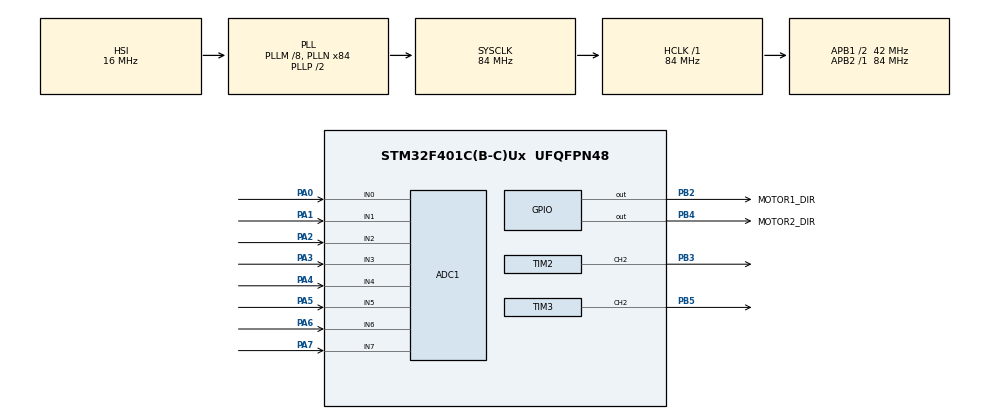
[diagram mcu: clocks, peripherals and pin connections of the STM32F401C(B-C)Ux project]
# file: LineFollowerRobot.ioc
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ADC1.Channel-0\#ChannelRegularConversion=ADC_CHANNEL_0
ADC1.Channel-1\#ChannelRegularConversion=ADC_CHANNEL_1
ADC1.Channel-2\#ChannelRegularConversion=ADC_CHANNEL_2
ADC1.Channel-3\#ChannelRegularConversion=ADC_CHANNEL_3
ADC1.Channel-4\#ChannelRegularConversion=ADC_CHANNEL_4
ADC1.Channel-5\#ChannelRegularConversion=ADC_CHANNEL_5
ADC1.Channel-6\#ChannelRegularConversion=ADC_CHANNEL_6
ADC1.Channel-7\#ChannelRegularConversion=ADC_CHANNEL_7
ADC1.ContinuousConvMode=ENABLE
ADC1.NbrOfConversion=8
ADC1.NbrOfConversionFlag=1
ADC1.Rank-0\#ChannelRegularConversion=1
ADC1.Rank-1\#ChannelRegularConversion=2
ADC1.Rank-2\#ChannelRegularConversion=3
ADC1.Rank-3\#ChannelRegularConversion=4
ADC1.Rank-4\#ChannelRegularConversion=5
ADC1.Rank-5\#ChannelRegularConversion=6
ADC1.Rank-6\#ChannelRegularConversion=7
ADC1.Rank-7\#ChannelRegularConversion=8
ADC1.SamplingTime-0\#ChannelRegularConversion=ADC_SAMPLETIME_3CYCLES
ADC1.SamplingTime-1\#ChannelRegularConversion=ADC_SAMPLETIME_3CYCLES
ADC1.SamplingTime-2\#ChannelRegularConversion=ADC_SAMPLETIME_3CYCLES
ADC1.SamplingTime-3\#ChannelRegularConversion=ADC_SAMPLETIME_3CYCLES
ADC1.SamplingTime-4\#ChannelRegularConversion=ADC_SAMPLETIME_3CYCLES
ADC1.SamplingTime-5\#ChannelRegularConversion=ADC_SAMPLETIME_3CYCLES
ADC1.SamplingTime-6\#ChannelRegularConversion=ADC_SAMPLETIME_3CYCLES
ADC1.SamplingTime-7\#ChannelRegularConversion=ADC_SAMPLETIME_3CYCLES
ADC1.ScanConvMode=ENABLE
ADC1.master=1
Dma.ADC1.0.Direction=DMA_PERIPH_TO_MEMORY
Dma.ADC1.0.FIFOMode=DMA_FIFOMODE_DISABLE
Dma.ADC1.0.Instance=DMA2_Stream0
Dma.ADC1.0.MemDataAlignment=DMA_MDATAALIGN_HALFWORD
Dma.ADC1.0.MemInc=DMA_MINC_ENABLE
Dma.ADC1.0.Mode=DMA_CIRCULAR
Dma.ADC1.0.PeriphDataAlignment=DMA_PDATAALIGN_HALFWORD
Dma.ADC1.0.PeriphInc=DMA_PINC_DISABLE
Dma.ADC1.0.Priority=DMA_PRIORITY_LOW
Dma.Request0=ADC1
Mcu.Family=STM32F4
Mcu.Name=STM32F401C(B-C)Ux
Mcu.Package=UFQFPN48
NVIC.DMA2_Stream0_IRQn=true\:0\:0\:false\:false\:true\:false\:true\:true
NVIC.PriorityGroup=NVIC_PRIORITYGROUP_4
NVIC.TIM4_IRQn=true\:0\:0\:false\:false\:true\:true\:true\:true
PA0-WKUP.Signal=ADCx_IN0
PA1.Signal=ADCx_IN1
PA2.Signal=ADCx_IN2
PA3.Signal=ADCx_IN3
PA4.Signal=ADCx_IN4
PA5.Signal=ADCx_IN5
PA6.Signal=ADCx_IN6
PA7.Signal=ADCx_IN7
PB2.GPIO_Label=MOTOR1_DIR
PB2.Signal=GPIO_Output
PB3.Signal=S_TIM2_CH2
PB4.GPIO_Label=MOTOR2_DIR
PB4.Signal=GPIO_Output
PB5.Signal=S_TIM3_CH2
ProjectManager.HeapSize=0x200
ProjectManager.StackSize=0x400
ProjectManager.TargetToolchain=STM32CubeIDE
RCC.48MHZClocksFreq_Value=42000000
RCC.AHBFreq_Value=84000000
RCC.APB1CLKDivider=RCC_HCLK_DIV2
RCC.APB1Freq_Value=42000000
RCC.APB1TimFreq_Value=84000000
RCC.APB2Freq_Value=84000000
RCC.APB2TimFreq_Value=84000000
RCC.CortexFreq_Value=84000000
RCC.HCLKFreq_Value=84000000
RCC.HSE_VALUE=25000000
RCC.HSI_VALUE=16000000
RCC.LSE_VALUE=32768
RCC.PLLM=8
RCC.PLLN=84
RCC.SYSCLKFreq_VALUE=84000000
RCC.SYSCLKSource=RCC_SYSCLKSOURCE_PLLCLK
RCC.VCOOutputFreq_Value=168000000
SH.ADCx_IN0.0=ADC1_IN0,IN0
SH.ADCx_IN1.0=ADC1_IN1,IN1
SH.ADCx_IN2.0=ADC1_IN2,IN2
SH.ADCx_IN3.0=ADC1_IN3,IN3
SH.ADCx_IN4.0=ADC1_IN4,IN4
SH.ADCx_IN5.0=ADC1_IN5,IN5
SH.ADCx_IN6.0=ADC1_IN6,IN6
SH.ADCx_IN7.0=ADC1_IN7,IN7
SH.S_TIM2_CH2.0=TIM2_CH2,PWM Generation2 CH2
SH.S_TIM3_CH2.0=TIM3_CH2,PWM Generation2 CH2
TIM2.Channel-PWM\ Generation2\ CH2=TIM_CHANNEL_2
TIM2.Period=4199
TIM3.Channel-PWM\ Generation2\ CH2=TIM_CHANNEL_2
TIM3.Period=4199
TIM4.Period=1999
TIM4.Prescaler=83
VP_TIM4_VS_ClockSourceINT.Mode=Internal
board=custom

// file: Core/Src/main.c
/* USER CODE BEGIN Header */
/**
  ******************************************************************************
  * @file           : main.c
  * @brief          : Main program body
  ******************************************************************************
  * @attention
  *
  * Copyright (c) 2026 STMicroelectronics.
  * All rights reserved.
  *
  * This software is licensed under terms that can be found in the LICENSE file
  * in the root directory of this software component.
  * If no LICENSE file comes with this software, it is provided AS-IS.
  *
  ******************************************************************************
  */
/* USER CODE END Header */
#include "main.h"
#include "adc.h"
#include "dma.h"
#include "tim.h"
#include "gpio.h"

/* USER CODE BEGIN Includes */
#include "control.h"
/* USER CODE END Includes */

/* USER CODE BEGIN PV */

volatile uint16_t line_sensor_raw[SENSOR_COUNT];
PID_t pid;

volatile bool tick_flag = false;

/* quantos ticks seguidos sem ver linha até considerar "perdida de fato"
 * (10 ticks a 500Hz = 20ms — ajuste se achar sensível demais ou de menos) */
#define LOST_DEBOUNCE_TICKS   10

/* quanto tempo girando tentando recuperar até desistir e parar por
 * segurança (1000 ticks a 500Hz = 2 segundos) */
#define LOST_TIMEOUT_TICKS    1000

/* velocidade fixa de giro durante a tentativa de recuperação
 * (mesma escala do output do PID, cabe dentro de BASE_SPEED_DUTY) */
#define RECOVERY_TURN_OUTPUT  1500.0f

int32_t  last_error_sign = 0;     /* +1, -1 ou 0 (nunca viu linha ainda) */
uint16_t lost_debounce_count = 0; /* ticks seguidos sem linha, dentro de SEGUINDO_LINHA */
uint16_t lost_timeout_count  = 0; /* ticks seguidos tentando recuperar, dentro de LINHA_PERDIDA */

typedef enum {
    STATE_INIT,
    STATE_SEGUINDO_LINHA,
    STATE_LINHA_PERDIDA,
    STATE_PARADO_SEGURANCA
} RobotState_t;

RobotState_t robot_state = STATE_INIT;

/* USER CODE END PV */

void SystemClock_Config(void);

int main(void)
{

  /* MCU Configuration--------------------------------------------------------*/

  /* Reset of all peripherals, Initializes the Flash interface and the Systick. */
  HAL_Init();

  /* Configure the system clock */
  SystemClock_Config();

  /* Initialize all configured peripherals */
  MX_GPIO_Init();
  MX_DMA_Init();
  MX_ADC1_Init();
  MX_TIM2_Init();
  MX_TIM3_Init();
  MX_TIM4_Init();

  /* USER CODE BEGIN 2 */

  HAL_ADC_Start_DMA(&hadc1, (uint32_t*)line_sensor_raw, SENSOR_COUNT);
  Control_Init(&pid, 0.1f, 0.0f, 0.05f, 1000.0f);
  HAL_TIM_Base_Start_IT(&htim4);

  /* USER CODE END 2 */

  /* Infinite loop */
  /* USER CODE BEGIN WHILE */

  while (1)
  {
      /* USER CODE BEGIN WHILE */

      if (tick_flag) {
          tick_flag = false;
          switch (robot_state) {

              case STATE_INIT:
                  robot_state = STATE_SEGUINDO_LINHA;
                  break;

              case STATE_SEGUINDO_LINHA: {
                  int32_t position;

                  if (LineSensor_GetPosition(&position)) {
                      int32_t error = POSITION_CENTER - position;
                      float pid_output = PID_Step(&pid, error);
                      Motors_ApplyPID(pid_output);
                  } else {
                      Motors_ApplyPID(0.0f);
                  }
                  break;
              }
          }
      }

      /* USER CODE END WHILE */

  }

}

void SystemClock_Config(void)
{
  RCC_OscInitTypeDef RCC_OscInitStruct = {0};
  RCC_ClkInitTypeDef RCC_ClkInitStruct = {0};

  /** Configure the main internal regulator output voltage
  */
  __HAL_RCC_PWR_CLK_ENABLE();
  __HAL_PWR_VOLTAGESCALING_CONFIG(PWR_REGULATOR_VOLTAGE_SCALE2);

  /** Initializes the RCC Oscillators according to the specified parameters
  * in the RCC_OscInitTypeDef structure.
  */
  RCC_OscInitStruct.OscillatorType = RCC_OSCILLATORTYPE_HSI;
  RCC_OscInitStruct.HSIState = RCC_HSI_ON;
  RCC_OscInitStruct.HSICalibrationValue = RCC_HSICALIBRATION_DEFAULT;
  RCC_OscInitStruct.PLL.PLLState = RCC_PLL_ON;
  RCC_OscInitStruct.PLL.PLLSource = RCC_PLLSOURCE_HSI;
  RCC_OscInitStruct.PLL.PLLM = 8;
  RCC_OscInitStruct.PLL.PLLN = 84;
  RCC_OscInitStruct.PLL.PLLP = RCC_PLLP_DIV2;
  RCC_OscInitStruct.PLL.PLLQ = 4;
  if (HAL_RCC_OscConfig(&RCC_OscInitStruct) != HAL_OK)
  {
    Error_Handler();
  }

  /** Initializes the CPU, AHB and APB buses clocks
  */
  RCC_ClkInitStruct.ClockType = RCC_CLOCKTYPE_HCLK|RCC_CLOCKTYPE_SYSCLK
                              |RCC_CLOCKTYPE_PCLK1|RCC_CLOCKTYPE_PCLK2;
  RCC_ClkInitStruct.SYSCLKSource = RCC_SYSCLKSOURCE_PLLCLK;
  RCC_ClkInitStruct.AHBCLKDivider = RCC_SYSCLK_DIV1;
  RCC_ClkInitStruct.APB1CLKDivider = RCC_HCLK_DIV2;
  RCC_ClkInitStruct.APB2CLKDivider = RCC_HCLK_DIV1;

  if (HAL_RCC_ClockConfig(&RCC_ClkInitStruct, FLASH_LATENCY_2) != HAL_OK)
  {
    Error_Handler();
  }
}

/* USER CODE BEGIN 4 */

void HAL_TIM_PeriodElapsedCallback(TIM_HandleTypeDef *htim)
{
    if (htim->Instance == TIM4) {
        tick_flag = true;
    }
}

/* USER CODE END 4 */

void Error_Handler(void)
{
  __disable_irq();
  while (1)
  {
  }
}
